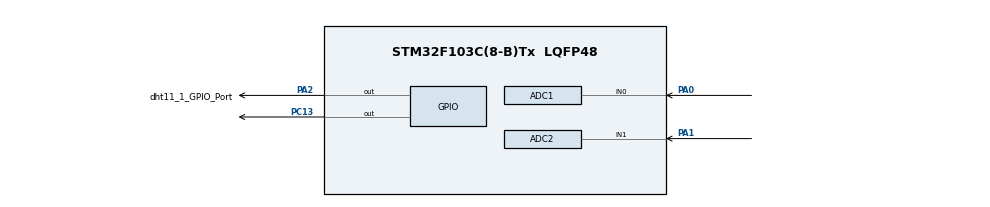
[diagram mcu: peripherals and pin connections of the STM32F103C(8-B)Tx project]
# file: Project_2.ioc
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ADC1.Channel-4\#ChannelRegularConversion=ADC_CHANNEL_0
ADC1.NbrOfConversionFlag=1
ADC1.Rank-4\#ChannelRegularConversion=1
ADC1.SamplingTime-4\#ChannelRegularConversion=ADC_SAMPLETIME_13CYCLES_5
ADC1.master=1
ADC2.Channel-1\#ChannelRegularConversion=ADC_CHANNEL_1
ADC2.NbrOfConversionFlag=1
ADC2.Rank-1\#ChannelRegularConversion=1
ADC2.SamplingTime-1\#ChannelRegularConversion=ADC_SAMPLETIME_13CYCLES_5
Mcu.Family=STM32F1
Mcu.Name=STM32F103C(8-B)Tx
Mcu.Package=LQFP48
NVIC.PriorityGroup=NVIC_PRIORITYGROUP_4
PA0-WKUP.Signal=ADCx_IN0
PA1.Signal=ADCx_IN1
PA13.Mode=Serial_Wire
PA13.Signal=SYS_JTMS-SWDIO
PA14.Mode=Serial_Wire
PA14.Signal=SYS_JTCK-SWCLK
PA2.GPIO_Label=dht11_1_GPIO_Port
PA2.Signal=GPIO_Output
PC13-TAMPER-RTC.Signal=GPIO_Output
ProjectManager.HeapSize=0x200
ProjectManager.StackSize=0x400
ProjectManager.TargetToolchain=STM32CubeIDE
RCC.APB1Freq_Value=8000000
RCC.APB2Freq_Value=8000000
SH.ADCx_IN0.0=ADC1_IN0,IN0
SH.ADCx_IN1.0=ADC2_IN1,IN1
TIM1.Prescaler=8
TIM2.Prescaler=8
TIM4.Prescaler=7
VP_TIM1_VS_ClockSourceINT.Mode=Internal
VP_TIM2_VS_ClockSourceINT.Mode=Internal
VP_TIM3_VS_ClockSourceINT.Mode=Internal
VP_TIM4_VS_ClockSourceINT.Mode=Internal
board=custom

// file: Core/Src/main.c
/* USER CODE BEGIN Header */
/**
 ******************************************************************************
 * @file           : main.c
 * @brief          : Main program body
 ******************************************************************************
 * @attention
 *
 * Copyright (c) 2024 STMicroelectronics.
 * All rights reserved.
 *
 * This software is licensed under terms that can be found in the LICENSE file
 * in the root directory of this software component.
 * If no LICENSE file comes with this software, it is provided AS-IS.
 *
 ******************************************************************************
 */
/* USER CODE END Header */
#include "main.h"

ADC_HandleTypeDef hadc1;
ADC_HandleTypeDef hadc2;

TIM_HandleTypeDef htim1;
TIM_HandleTypeDef htim2;
TIM_HandleTypeDef htim3;
TIM_HandleTypeDef htim4;

void SystemClock_Config(void);
static void MX_GPIO_Init(void);
static void MX_TIM4_Init(void);
static void MX_TIM1_Init(void);
static void MX_TIM2_Init(void);
static void MX_TIM3_Init(void);
static void MX_ADC1_Init(void);
static void MX_ADC2_Init(void);
/* USER CODE BEGIN PFP */
void delay_us(uint16_t us) {
	__HAL_TIM_SET_COUNTER(&htim4, 0);
	uint16_t init = __HAL_TIM_GET_COUNTER(&htim4);
	;  // set the counter value a 0
	while (1) {
		uint16_t current = __HAL_TIM_GET_COUNTER(&htim4);
		if (current - init > us) {
			break;
		}
	}
}
//uint16_t adc_read(ADC_HandleTypeDef *Adc_x){
//	  HAL_ADC_Start(&hadc1); // start the adc
//
//	  HAL_ADC_PollForConversion(&hadc1, 100); // poll for conversion
//
//	  adc_val = HAL_ADC_GetValue(&hadc1); // get the adc value
//
//	  HAL_ADC_Stop(&hadc1); // stop adc
//}

uint16_t Adc_read(ADC_HandleTypeDef *adcx) {
	HAL_ADC_Start(adcx);
	HAL_ADC_PollForConversion(adcx, 1000);
	uint16_t ret = HAL_ADC_GetValue(adcx);
	HAL_ADC_Stop(adcx);
	return ret;
}
/* USER CODE END PFP */

/* USER CODE BEGIN 0 */

uint32_t value[3];
dht11_t dht;
float humi, temp;
//void Read_DataDht(){
//	DHT_GetData(&Dht11Data);
//	temp = Dht11Data.Temperature;
//	humi = Dht11Data.Humidity;
//}
/* USER CODE END 0 */

int main(void) {

	/* MCU Configuration--------------------------------------------------------*/

	/* Reset of all peripherals, Initializes the Flash interface and the Systick. */
	HAL_Init();

	/* Configure the system clock */
	SystemClock_Config();

	/* Initialize all configured peripherals */
	MX_GPIO_Init();
	MX_TIM4_Init();
	MX_TIM1_Init();
	MX_TIM2_Init();
	MX_TIM3_Init();
	MX_ADC1_Init();
	MX_ADC2_Init();
	/* USER CODE BEGIN 2 */
	HAL_TIM_Base_Start(&htim4);
	HAL_TIM_Base_Start(&htim3);
	HAL_TIM_Base_Start(&htim2);
	HAL_TIM_Base_Start(&htim1);
	init_dht11(&dht, &htim4, GPIOA, dht11_1_GPIO_Port_Pin);

	/* USER CODE END 2 */

	/* Infinite loop */
	/* USER CODE BEGIN WHILE */
	uint16_t tick = HAL_GetTick();
	while (1) {
		value[0] = Adc_read(&hadc1);
		value[2] = Adc_read(&hadc2);
		uint16_t current_tick = HAL_GetTick();
		if(current_tick - tick >= 1000){
		readDHT11(&dht);
		current_tick = tick;
		}
		/* USER CODE END WHILE */

	}
}

void SystemClock_Config(void) {
	RCC_OscInitTypeDef RCC_OscInitStruct = { 0 };
	RCC_ClkInitTypeDef RCC_ClkInitStruct = { 0 };
	RCC_PeriphCLKInitTypeDef PeriphClkInit = { 0 };

	/** Initializes the RCC Oscillators according to the specified parameters
	 * in the RCC_OscInitTypeDef structure.
	 */
	RCC_OscInitStruct.OscillatorType = RCC_OSCILLATORTYPE_HSI;
	RCC_OscInitStruct.HSIState = RCC_HSI_ON;
	RCC_OscInitStruct.HSICalibrationValue = RCC_HSICALIBRATION_DEFAULT;
	RCC_OscInitStruct.PLL.PLLState = RCC_PLL_NONE;
	if (HAL_RCC_OscConfig(&RCC_OscInitStruct) != HAL_OK) {
		Error_Handler();
	}

	/** Initializes the CPU, AHB and APB buses clocks
	 */
	RCC_ClkInitStruct.ClockType = RCC_CLOCKTYPE_HCLK | RCC_CLOCKTYPE_SYSCLK
			| RCC_CLOCKTYPE_PCLK1 | RCC_CLOCKTYPE_PCLK2;
	RCC_ClkInitStruct.SYSCLKSource = RCC_SYSCLKSOURCE_HSI;
	RCC_ClkInitStruct.AHBCLKDivider = RCC_SYSCLK_DIV1;
	RCC_ClkInitStruct.APB1CLKDivider = RCC_HCLK_DIV1;
	RCC_ClkInitStruct.APB2CLKDivider = RCC_HCLK_DIV1;

	if (HAL_RCC_ClockConfig(&RCC_ClkInitStruct, FLASH_LATENCY_0) != HAL_OK) {
		Error_Handler();
	}
	PeriphClkInit.PeriphClockSelection = RCC_PERIPHCLK_ADC;
	PeriphClkInit.AdcClockSelection = RCC_ADCPCLK2_DIV2;
	if (HAL_RCCEx_PeriphCLKConfig(&PeriphClkInit) != HAL_OK) {
		Error_Handler();
	}
}

static void MX_ADC1_Init(void) {

	ADC_ChannelConfTypeDef sConfig = { 0 };

	/** Common config
	 */
	hadc1.Instance = ADC1;
	hadc1.Init.ScanConvMode = ADC_SCAN_DISABLE;
	hadc1.Init.ContinuousConvMode = DISABLE;
	hadc1.Init.DiscontinuousConvMode = DISABLE;
	hadc1.Init.ExternalTrigConv = ADC_SOFTWARE_START;
	hadc1.Init.DataAlign = ADC_DATAALIGN_RIGHT;
	hadc1.Init.NbrOfConversion = 1;
	if (HAL_ADC_Init(&hadc1) != HAL_OK) {
		Error_Handler();
	}

	/** Configure Regular Channel
	 */
	sConfig.Channel = ADC_CHANNEL_0;
	sConfig.Rank = ADC_REGULAR_RANK_1;
	sConfig.SamplingTime = ADC_SAMPLETIME_13CYCLES_5;
	if (HAL_ADC_ConfigChannel(&hadc1, &sConfig) != HAL_OK) {
		Error_Handler();
	}

}

static void MX_ADC2_Init(void) {

	ADC_ChannelConfTypeDef sConfig = { 0 };

	/** Common config
	 */
	hadc2.Instance = ADC2;
	hadc2.Init.ScanConvMode = ADC_SCAN_DISABLE;
	hadc2.Init.ContinuousConvMode = DISABLE;
	hadc2.Init.DiscontinuousConvMode = DISABLE;
	hadc2.Init.ExternalTrigConv = ADC_SOFTWARE_START;
	hadc2.Init.DataAlign = ADC_DATAALIGN_RIGHT;
	hadc2.Init.NbrOfConversion = 1;
	if (HAL_ADC_Init(&hadc2) != HAL_OK) {
		Error_Handler();
	}

	/** Configure Regular Channel
	 */
	sConfig.Channel = ADC_CHANNEL_1;
	sConfig.Rank = ADC_REGULAR_RANK_1;
	sConfig.SamplingTime = ADC_SAMPLETIME_13CYCLES_5;
	if (HAL_ADC_ConfigChannel(&hadc2, &sConfig) != HAL_OK) {
		Error_Handler();
	}

}

static void MX_TIM1_Init(void) {

	TIM_ClockConfigTypeDef sClockSourceConfig = { 0 };
	TIM_MasterConfigTypeDef sMasterConfig = { 0 };

	htim1.Instance = TIM1;
	htim1.Init.Prescaler = 8;
	htim1.Init.CounterMode = TIM_COUNTERMODE_UP;
	htim1.Init.Period = 65535;
	htim1.Init.ClockDivision = TIM_CLOCKDIVISION_DIV1;
	htim1.Init.RepetitionCounter = 0;
	htim1.Init.AutoReloadPreload = TIM_AUTORELOAD_PRELOAD_DISABLE;
	if (HAL_TIM_Base_Init(&htim1) != HAL_OK) {
		Error_Handler();
	}
	sClockSourceConfig.ClockSource = TIM_CLOCKSOURCE_INTERNAL;
	if (HAL_TIM_ConfigClockSource(&htim1, &sClockSourceConfig) != HAL_OK) {
		Error_Handler();
	}
	sMasterConfig.MasterOutputTrigger = TIM_TRGO_RESET;
	sMasterConfig.MasterSlaveMode = TIM_MASTERSLAVEMODE_DISABLE;
	if (HAL_TIMEx_MasterConfigSynchronization(&htim1, &sMasterConfig)
			!= HAL_OK) {
		Error_Handler();
	}

}

static void MX_TIM2_Init(void) {

	TIM_ClockConfigTypeDef sClockSourceConfig = { 0 };
	TIM_MasterConfigTypeDef sMasterConfig = { 0 };

	htim2.Instance = TIM2;
	htim2.Init.Prescaler = 8;
	htim2.Init.CounterMode = TIM_COUNTERMODE_UP;
	htim2.Init.Period = 65535;
	htim2.Init.ClockDivision = TIM_CLOCKDIVISION_DIV1;
	htim2.Init.AutoReloadPreload = TIM_AUTORELOAD_PRELOAD_DISABLE;
	if (HAL_TIM_Base_Init(&htim2) != HAL_OK) {
		Error_Handler();
	}
	sClockSourceConfig.ClockSource = TIM_CLOCKSOURCE_INTERNAL;
	if (HAL_TIM_ConfigClockSource(&htim2, &sClockSourceConfig) != HAL_OK) {
		Error_Handler();
	}
	sMasterConfig.MasterOutputTrigger = TIM_TRGO_RESET;
	sMasterConfig.MasterSlaveMode = TIM_MASTERSLAVEMODE_DISABLE;
	if (HAL_TIMEx_MasterConfigSynchronization(&htim2, &sMasterConfig)
			!= HAL_OK) {
		Error_Handler();
	}

}

static void MX_TIM3_Init(void) {

	TIM_ClockConfigTypeDef sClockSourceConfig = { 0 };
	TIM_MasterConfigTypeDef sMasterConfig = { 0 };

	htim3.Instance = TIM3;
	htim3.Init.Prescaler = 0;
	htim3.Init.CounterMode = TIM_COUNTERMODE_UP;
	htim3.Init.Period = 65535;
	htim3.Init.ClockDivision = TIM_CLOCKDIVISION_DIV1;
	htim3.Init.AutoReloadPreload = TIM_AUTORELOAD_PRELOAD_DISABLE;
	if (HAL_TIM_Base_Init(&htim3) != HAL_OK) {
		Error_Handler();
	}
	sClockSourceConfig.ClockSource = TIM_CLOCKSOURCE_INTERNAL;
	if (HAL_TIM_ConfigClockSource(&htim3, &sClockSourceConfig) != HAL_OK) {
		Error_Handler();
	}
	sMasterConfig.MasterOutputTrigger = TIM_TRGO_RESET;
	sMasterConfig.MasterSlaveMode = TIM_MASTERSLAVEMODE_DISABLE;
	if (HAL_TIMEx_MasterConfigSynchronization(&htim3, &sMasterConfig)
			!= HAL_OK) {
		Error_Handler();
	}

}

static void MX_TIM4_Init(void) {

	TIM_ClockConfigTypeDef sClockSourceConfig = { 0 };
	TIM_MasterConfigTypeDef sMasterConfig = { 0 };

	htim4.Instance = TIM4;
	htim4.Init.Prescaler = 7;
	htim4.Init.CounterMode = TIM_COUNTERMODE_UP;
	htim4.Init.Period = 65535;
	htim4.Init.ClockDivision = TIM_CLOCKDIVISION_DIV1;
	htim4.Init.AutoReloadPreload = TIM_AUTORELOAD_PRELOAD_DISABLE;
	if (HAL_TIM_Base_Init(&htim4) != HAL_OK) {
		Error_Handler();
	}
	sClockSourceConfig.ClockSource = TIM_CLOCKSOURCE_INTERNAL;
	if (HAL_TIM_ConfigClockSource(&htim4, &sClockSourceConfig) != HAL_OK) {
		Error_Handler();
	}
	sMasterConfig.MasterOutputTrigger = TIM_TRGO_RESET;
	sMasterConfig.MasterSlaveMode = TIM_MASTERSLAVEMODE_DISABLE;
	if (HAL_TIMEx_MasterConfigSynchronization(&htim4, &sMasterConfig)
			!= HAL_OK) {
		Error_Handler();
	}

}

static void MX_GPIO_Init(void) {
	GPIO_InitTypeDef GPIO_InitStruct = { 0 };

	/* GPIO Ports Clock Enable */
	__HAL_RCC_GPIOC_CLK_ENABLE();
	__HAL_RCC_GPIOA_CLK_ENABLE();

	/*Configure GPIO pin Output Level */
	HAL_GPIO_WritePin(GPIOC, GPIO_PIN_13, GPIO_PIN_RESET);

	/*Configure GPIO pin Output Level */
	HAL_GPIO_WritePin(dht11_1_GPIO_Port_GPIO_Port, dht11_1_GPIO_Port_Pin,
			GPIO_PIN_RESET);

	/*Configure GPIO pin : PC13 */
	GPIO_InitStruct.Pin = GPIO_PIN_13;
	GPIO_InitStruct.Mode = GPIO_MODE_OUTPUT_PP;
	GPIO_InitStruct.Pull = GPIO_NOPULL;
	GPIO_InitStruct.Speed = GPIO_SPEED_FREQ_LOW;
	HAL_GPIO_Init(GPIOC, &GPIO_InitStruct);

	/*Configure GPIO pin : dht11_1_GPIO_Port_Pin */
	GPIO_InitStruct.Pin = dht11_1_GPIO_Port_Pin;
	GPIO_InitStruct.Mode = GPIO_MODE_OUTPUT_PP;
	GPIO_InitStruct.Pull = GPIO_NOPULL;
	GPIO_InitStruct.Speed = GPIO_SPEED_FREQ_LOW;
	HAL_GPIO_Init(dht11_1_GPIO_Port_GPIO_Port, &GPIO_InitStruct);

}

void Error_Handler(void) {
	__disable_irq();
	while (1) {
	}
}
